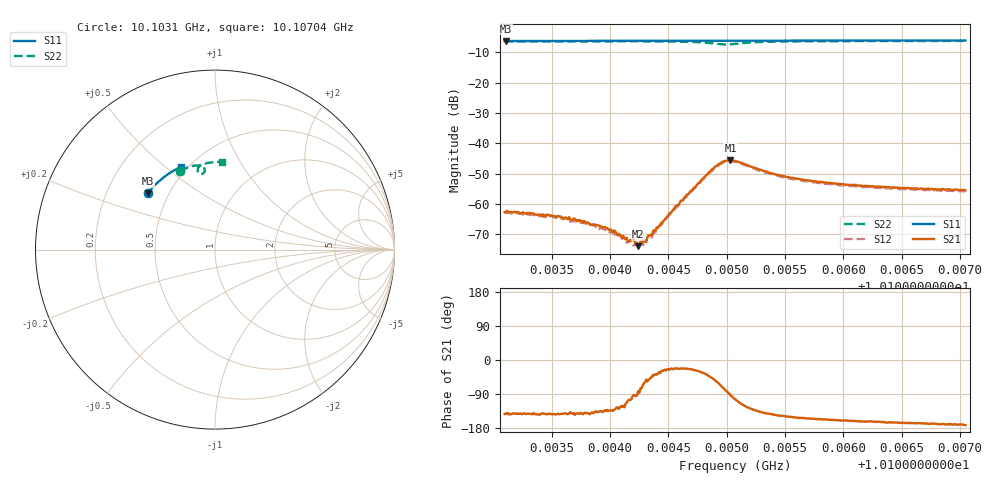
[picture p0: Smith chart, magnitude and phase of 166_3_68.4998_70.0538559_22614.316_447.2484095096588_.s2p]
#  HZ  S  RI  R  50.00
! Rohde & Schwarz Vector Network Analyzer
! Rohde-Schwarz,ZNB20-2Port,1311601062101988,3.16
! Created: UTC 3/20/2024, 5:11:09 PM
! freq[Hz]  re:S11  im:S11  re:S21  im:S21  re:S12  im:S12  re:S22  im:S22
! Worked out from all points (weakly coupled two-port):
!   401 points, 10.1031 GHz to 10.10704 GHz, reference 50 ohm
!   highest |S21| = -45.53 dB at 10.10503 GHz (marker M1); lowest = -73.9 dB at 10.10424 GHz (marker M2)
!   lowest |S11| = -6.2 dB at 10.10311 GHz (marker M3), VSWR 2.91, Z = 19.2 + j15.8 ohm
!   |S11| at or under -10 dB: nowhere
!   |S22| runs from -7.4 to -6.2 dB; largest |S21 - S12| = 0.00055
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1.0103097e10  -0.3745 0.3134  -0.000585 -0.000448  -0.000537 -0.000499  -0.1941 0.4395
1.0103107e10  -0.374 0.3138  -0.000568 -0.000461  -0.000528 -0.00049  -0.1935 0.4397
1.0103482e10  -0.3598 0.3317  -0.000504 -0.000406  -0.000476 -0.000424  -0.1707 0.4502
1.0103758e10  -0.3487 0.3443  -0.000412 -0.000329  -0.000361 -0.000349  -0.1528 0.4571
1.0103847e10  -0.3451 0.3483  -0.000342 -0.000303  -0.000333 -0.000324  -0.1469 0.4591
1.0103966e10  -0.3404 0.3536  -0.000285 -0.000289  -0.000227 -0.000295  -0.1389 0.4617
1.0104055e10  -0.3365 0.3574  -0.000196 -0.00027  -0.000166 -0.00026  -0.1327 0.4636
1.0104143e10  -0.3327 0.3614  -0.000104 -0.000259  -8.2e-05 -0.000214  -0.1261 0.4653
1.0104212e10  -0.3297 0.3643  -1.35e-05 -0.000237  -8.49e-06 -0.000212  -0.121 0.4665
1.0104242e10  -0.3284 0.3657  2.73e-05 -0.000201  5.3e-05 -0.000216  -0.1186 0.467
1.0104291e10  -0.3263 0.3676  0.000117 -0.000217  0.00011 -0.000214  -0.1146 0.4678
1.0104341e10  -0.3242 0.3697  0.000196 -0.000234  0.000196 -0.00018  -0.1108 0.4686
1.010442e10  -0.3207 0.3729  0.000366 -0.000232  0.000386 -0.000199  -0.1038 0.4693
1.0104558e10  -0.3142 0.3788  0.000835 -0.00034  0.000821 -0.000229  -0.0906 0.4697
1.0104874e10  -0.2998 0.3912  0.00251 -0.00272  0.00263 -0.00237  -0.0569 0.4438
1.0104962e10  -0.2957 0.3945  0.00156 -0.00468  0.00197 -0.00432  -0.0655 0.4248
1.0105031e10  -0.2923 0.3969  -0.000238 -0.00528  0.000234 -0.00506  -0.0833 0.4225
1.0105071e10  -0.2907 0.3985  -0.00119 -0.00501  -0.000698 -0.00491  -0.0913 0.4279
1.0105397e10  -0.2752 0.4107  -0.00257 -0.00188  -0.00229 -0.00201  -0.0796 0.4697
1.0105732e10  -0.2586 0.4224  -0.00217 -0.00101  -0.00199 -0.00116  -0.0521 0.4806
1.0106393e10  -0.2244 0.4433  -0.00183 -0.00052  -0.00169 -0.000646  -0.00507 0.4876
1.0107045e10  -0.1892 0.4608  -0.00167 -0.000239  -0.00156 -0.000383  0.0384 0.4883
